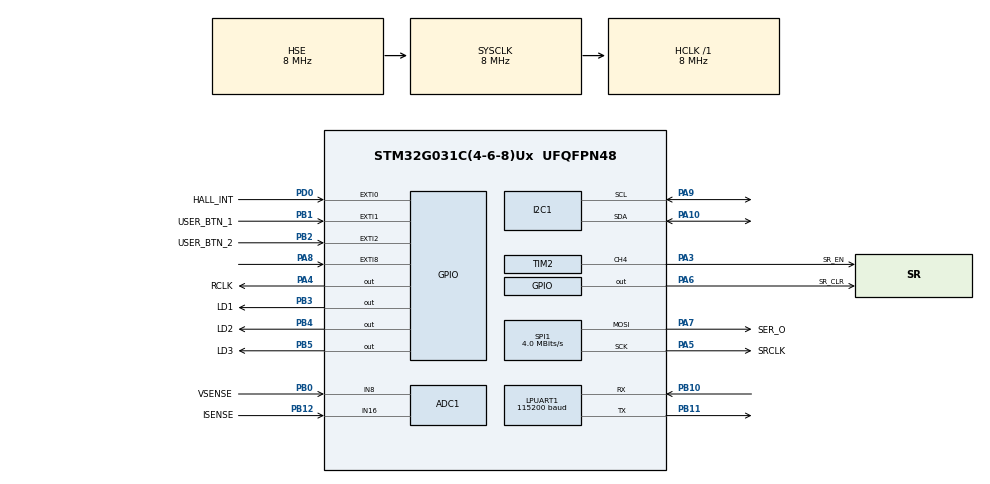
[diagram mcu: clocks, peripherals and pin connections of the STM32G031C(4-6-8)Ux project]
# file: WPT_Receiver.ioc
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ADC1.Channel-0\#ChannelRegularConversion=ADC_CHANNEL_8
ADC1.NbrOfConversionFlag=1
ADC1.Rank-0\#ChannelRegularConversion=1
ADC1.SamplingTime-0\#ChannelRegularConversion=ADC_SAMPLINGTIME_COMMON_1
ADC1.SelectedChannel=ADC_CHANNEL_8
ADC1.master=1
Dma.LPUART1_RX.0.Direction=DMA_PERIPH_TO_MEMORY
Dma.LPUART1_RX.0.EventEnable=ENABLE
Dma.LPUART1_RX.0.Instance=DMA1_Channel1
Dma.LPUART1_RX.0.MemDataAlignment=DMA_MDATAALIGN_BYTE
Dma.LPUART1_RX.0.MemInc=DMA_MINC_ENABLE
Dma.LPUART1_RX.0.Mode=DMA_NORMAL
Dma.LPUART1_RX.0.PeriphDataAlignment=DMA_PDATAALIGN_BYTE
Dma.LPUART1_RX.0.PeriphInc=DMA_PINC_DISABLE
Dma.LPUART1_RX.0.Polarity=HAL_DMAMUX_REQ_GEN_RISING
Dma.LPUART1_RX.0.Priority=DMA_PRIORITY_LOW
Dma.LPUART1_RX.0.RequestNumber=1
Dma.LPUART1_RX.0.SignalID=NONE
Dma.LPUART1_RX.0.SyncEnable=DISABLE
Dma.LPUART1_RX.0.SyncPolarity=HAL_DMAMUX_SYNC_NO_EVENT
Dma.LPUART1_RX.0.SyncRequestNumber=1
Dma.LPUART1_RX.0.SyncSignalID=NONE
Dma.Request0=LPUART1_RX
I2C1.Timing=0x2000090E
LPUART1.BaudRate=115200
LPUART1.WordLength=UART_WORDLENGTH_8B
Mcu.Family=STM32G0
Mcu.Name=STM32G031C(4-6-8)Ux
Mcu.Package=UFQFPN48
NVIC.DMA1_Ch4_5_DMAMUX1_OVR_IRQn=true\:0\:0\:false\:false\:true\:false\:true
NVIC.DMA1_Channel1_IRQn=true\:0\:0\:false\:false\:true\:false\:true
NVIC.EXTI0_1_IRQn=true\:0\:0\:false\:false\:true\:true\:true
NVIC.EXTI2_3_IRQn=true\:0\:0\:false\:false\:true\:true\:true
NVIC.EXTI4_15_IRQn=true\:0\:0\:false\:false\:true\:true\:true
NVIC.LPUART1_IRQn=true\:0\:0\:false\:false\:true\:true\:true
PA10.Mode=I2C
PA10.Signal=I2C1_SDA
PA13.Mode=Serial_Wire
PA13.Signal=SYS_SWDIO
PA14-BOOT0.Mode=Serial_Wire
PA14-BOOT0.Signal=SYS_SWCLK
PA3.GPIO_Label=SR_EN
PA3.Signal=S_TIM2_CH4
PA4.GPIO_Label=RCLK
PA4.Signal=GPIO_Output
PA5.GPIO_Label=SRCLK
PA5.Mode=TX_Only_Simplex_Unidirect_Master
PA5.Signal=SPI1_SCK
PA6.GPIO_Label=SR_CLR
PA6.Signal=GPIO_Output
PA7.GPIO_Label=SER_O
PA7.Mode=TX_Only_Simplex_Unidirect_Master
PA7.Signal=SPI1_MOSI
PA8.Signal=GPXTI8
PA9.Mode=I2C
PA9.Signal=I2C1_SCL
PB0.GPIO_Label=VSENSE
PB0.Mode=IN8
PB0.Signal=ADC1_IN8
PB1.GPIO_Label=USER_BTN_1
PB1.GPIO_ModeDefaultEXTI=GPIO_MODE_IT_FALLING
PB1.Signal=GPXTI1
PB10.Mode=Asynchronous
PB10.Signal=LPUART1_RX
PB11.Mode=Asynchronous
PB11.Signal=LPUART1_TX
PB12.GPIO_Label=ISENSE
PB12.Mode=IN16
PB12.Signal=ADC1_IN16
PB2.GPIO_Label=USER_BTN_2
PB2.GPIO_ModeDefaultEXTI=GPIO_MODE_IT_FALLING
PB2.Signal=GPXTI2
PB3.GPIO_Label=LD1
PB3.Signal=GPIO_Output
PB4.GPIO_Label=LD2
PB4.Signal=GPIO_Output
PB5.GPIO_Label=LD3
PB5.Signal=GPIO_Output
PD0.GPIO_Label=HALL_INT
PD0.GPIO_ModeDefaultEXTI=GPIO_MODE_IT_RISING_FALLING
PD0.Signal=GPXTI0
PF0-OSC_IN\ (PF0).Mode=HSE-External-Oscillator
PF0-OSC_IN\ (PF0).Signal=RCC_OSC_IN
PF1-OSC_OUT\ (PF1).Mode=HSE-External-Oscillator
PF1-OSC_OUT\ (PF1).Signal=RCC_OSC_OUT
ProjectManager.HeapSize=0x200
ProjectManager.StackSize=0x400
ProjectManager.TargetToolchain=MDK-ARM V5
RCC.ADCFreq_Value=8000000
RCC.AHBFreq_Value=8000000
RCC.CortexFreq_Value=8000000
RCC.EXTERNAL_CLOCK_VALUE=12288000
RCC.HCLKFreq_Value=8000000
RCC.HSE_VALUE=8000000
RCC.HSI_VALUE=16000000
RCC.LSE_VALUE=32768
RCC.PLLSourceVirtual=RCC_PLLSOURCE_HSE
RCC.SYSCLKFreq_VALUE=8000000
RCC.SYSCLKSource=RCC_SYSCLKSOURCE_HSE
RCC.VCOOutputFreq_Value=64000000
SH.S_TIM2_CH4.0=TIM2_CH4,PWM Generation4 CH4
SPI1.CalculateBaudRate=4.0 MBits/s
SPI1.Direction=SPI_DIRECTION_2LINES
SPI1.Mode=SPI_MODE_MASTER
SPI1.VirtualType=VM_MASTER
TIM2.Channel-PWM\ Generation4\ CH4=TIM_CHANNEL_4
TIM2.OCPolarity_4=TIM_OCPOLARITY_LOW
TIM2.Period=100
TIM2.Prescaler=8
TIM2.Pulse-PWM\ Generation4\ CH4=10
VP_TIM2_VS_ClockSourceINT.Mode=Internal
board=custom

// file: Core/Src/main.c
/* USER CODE BEGIN Header */
/**
  ******************************************************************************
  * @file           : main.c
  * @brief          : Main program body
  ******************************************************************************
  * @attention
  *
  * <h2><center>&copy; Copyright (c) 2021 STMicroelectronics.
  * All rights reserved.</center></h2>
  *
  * This software component is licensed by ST under BSD 3-Clause license,
  * the "License"; You may not use this file except in compliance with the
  * License. You may obtain a copy of the License at:
  *                        opensource.org/licenses/BSD-3-Clause
  *
  ******************************************************************************
  */
/* USER CODE END Header */
#include "main.h"

/* USER CODE BEGIN Includes */
#include "string.h"
#include <stdio.h>
#include "SN74HC595.h"

/* USER CODE END Includes */

ADC_HandleTypeDef hadc1;

I2C_HandleTypeDef hi2c1;

UART_HandleTypeDef hlpuart1;
DMA_HandleTypeDef hdma_lpuart1_rx;

SPI_HandleTypeDef hspi1;

TIM_HandleTypeDef htim2;

/* USER CODE BEGIN PV */

static uint16_t BlinkyPin;
static uint8_t BlinkyEn;

/* USER CODE END PV */

void SystemClock_Config(void);
static void MX_GPIO_Init(void);
static void MX_DMA_Init(void);
static void MX_ADC1_Init(void);
static void MX_I2C1_Init(void);
static void MX_LPUART1_UART_Init(void);
static void MX_SPI1_Init(void);
static void MX_TIM2_Init(void);
/* USER CODE BEGIN PFP */
static void ReverseRxIntoTx(void);
/* USER CODE END PFP */

/* USER CODE BEGIN 0 */
#define RX_BUFFER_SIZE 20
#define TX_BUFFER_SIZE 100
#define MAIN_BUFFER_SIZE 40

uint8_t DebugRxBuffer[RX_BUFFER_SIZE];
uint8_t DebugTxData[TX_BUFFER_SIZE] = "DEFAULT\r\n";
uint8_t MainDataBuffer[MAIN_BUFFER_SIZE];

uint8_t OldPos = 0;
uint8_t NewPos = 0;
uint8_t RxDataLength = 0;
uint8_t RxDataFlag = 0;

uint32_t ADC_CurrentReading = 0;

/* USER CODE END 0 */

int main(void)
{

  /* MCU Configuration--------------------------------------------------------*/

  /* Reset of all peripherals, Initializes the Flash interface and the Systick. */
  HAL_Init();

  /* Configure the system clock */
  SystemClock_Config();

  /* Initialize all configured peripherals */
  MX_GPIO_Init();
  MX_DMA_Init();
  MX_ADC1_Init();
  MX_I2C1_Init();
  MX_LPUART1_UART_Init();
  MX_SPI1_Init();
  MX_TIM2_Init();
  /* USER CODE BEGIN 2 */

	BlinkyPin = GPIO_PIN_3;
	BlinkyEn = 1;

	HAL_UARTEx_ReceiveToIdle_DMA(&hlpuart1, DebugRxBuffer, RX_BUFFER_SIZE);
	__HAL_DMA_DISABLE_IT(&hdma_lpuart1_rx, DMA_IT_HT);

	// Disable shift register output (active low) so LEDs don't turn on
	HAL_TIM_PWM_Start(&htim2, TIM_CHANNEL_4);
	SN74HC595_Init();

	// HAL_UART_Receive_DMA(&hlpuart1, DebugRxData, 20);

	HAL_UART_Transmit(&hlpuart1, DebugTxData, 9, 100);

  /* USER CODE END 2 */

  /* Infinite loop */
  /* USER CODE BEGIN WHILE */
  while (1)
  {
		HAL_ADC_Start(&hadc1);

		if (BlinkyEn)
		{
			HAL_GPIO_TogglePin(GPIOB, BlinkyPin);
			HAL_Delay(500);
		}
		else
			HAL_GPIO_WritePin(GPIOB, BlinkyPin, GPIO_PIN_RESET);

		if (RxDataFlag)
		{
			ReverseRxIntoTx();
			HAL_UART_Transmit(&hlpuart1, DebugTxData, RxDataLength, 100);
			RxDataFlag = 0;
		}

		if(HAL_ADC_PollForConversion(&hadc1, 10) == HAL_OK) {
			ADC_CurrentReading = HAL_ADC_GetValue(&hadc1);
			char str[4];
			HAL_UART_Transmit(&hlpuart1, (void *)str, sprintf(str, "%d\n", ADC_CurrentReading), 10);
		}

		HAL_ADC_Stop(&hadc1);

		// SN74HC595_TestReel();

    /* USER CODE END WHILE */

  }
}

void SystemClock_Config(void)
{
  RCC_OscInitTypeDef RCC_OscInitStruct = {0};
  RCC_ClkInitTypeDef RCC_ClkInitStruct = {0};
  RCC_PeriphCLKInitTypeDef PeriphClkInit = {0};

  /** Configure the main internal regulator output voltage
  */
  HAL_PWREx_ControlVoltageScaling(PWR_REGULATOR_VOLTAGE_SCALE1);
  /** Initializes the RCC Oscillators according to the specified parameters
  * in the RCC_OscInitTypeDef structure.
  */
  RCC_OscInitStruct.OscillatorType = RCC_OSCILLATORTYPE_HSE;
  RCC_OscInitStruct.HSEState = RCC_HSE_ON;
  RCC_OscInitStruct.PLL.PLLState = RCC_PLL_NONE;
  if (HAL_RCC_OscConfig(&RCC_OscInitStruct) != HAL_OK)
  {
    Error_Handler();
  }
  /** Initializes the CPU, AHB and APB buses clocks
  */
  RCC_ClkInitStruct.ClockType = RCC_CLOCKTYPE_HCLK|RCC_CLOCKTYPE_SYSCLK
                              |RCC_CLOCKTYPE_PCLK1;
  RCC_ClkInitStruct.SYSCLKSource = RCC_SYSCLKSOURCE_HSE;
  RCC_ClkInitStruct.AHBCLKDivider = RCC_SYSCLK_DIV1;
  RCC_ClkInitStruct.APB1CLKDivider = RCC_HCLK_DIV1;

  if (HAL_RCC_ClockConfig(&RCC_ClkInitStruct, FLASH_LATENCY_0) != HAL_OK)
  {
    Error_Handler();
  }
  /** Initializes the peripherals clocks
  */
  PeriphClkInit.PeriphClockSelection = RCC_PERIPHCLK_LPUART1|RCC_PERIPHCLK_I2C1
                              |RCC_PERIPHCLK_ADC;
  PeriphClkInit.Lpuart1ClockSelection = RCC_LPUART1CLKSOURCE_PCLK1;
  PeriphClkInit.I2c1ClockSelection = RCC_I2C1CLKSOURCE_PCLK1;
  PeriphClkInit.AdcClockSelection = RCC_ADCCLKSOURCE_SYSCLK;
  if (HAL_RCCEx_PeriphCLKConfig(&PeriphClkInit) != HAL_OK)
  {
    Error_Handler();
  }
}

static void MX_ADC1_Init(void)
{

  ADC_ChannelConfTypeDef sConfig = {0};

  /** Configure the global features of the ADC (Clock, Resolution, Data Alignment and number of conversion)
  */
  hadc1.Instance = ADC1;
  hadc1.Init.ClockPrescaler = ADC_CLOCK_SYNC_PCLK_DIV2;
  hadc1.Init.Resolution = ADC_RESOLUTION_12B;
  hadc1.Init.DataAlign = ADC_DATAALIGN_RIGHT;
  hadc1.Init.ScanConvMode = ADC_SCAN_DISABLE;
  hadc1.Init.EOCSelection = ADC_EOC_SINGLE_CONV;
  hadc1.Init.LowPowerAutoWait = DISABLE;
  hadc1.Init.LowPowerAutoPowerOff = DISABLE;
  hadc1.Init.ContinuousConvMode = DISABLE;
  hadc1.Init.NbrOfConversion = 1;
  hadc1.Init.DiscontinuousConvMode = DISABLE;
  hadc1.Init.ExternalTrigConv = ADC_SOFTWARE_START;
  hadc1.Init.ExternalTrigConvEdge = ADC_EXTERNALTRIGCONVEDGE_NONE;
  hadc1.Init.DMAContinuousRequests = DISABLE;
  hadc1.Init.Overrun = ADC_OVR_DATA_PRESERVED;
  hadc1.Init.SamplingTimeCommon1 = ADC_SAMPLETIME_1CYCLE_5;
  hadc1.Init.SamplingTimeCommon2 = ADC_SAMPLETIME_1CYCLE_5;
  hadc1.Init.OversamplingMode = DISABLE;
  hadc1.Init.TriggerFrequencyMode = ADC_TRIGGER_FREQ_HIGH;
  if (HAL_ADC_Init(&hadc1) != HAL_OK)
  {
    Error_Handler();
  }
  /** Configure Regular Channel
  */
  sConfig.Channel = ADC_CHANNEL_8;
  sConfig.Rank = ADC_REGULAR_RANK_1;
  sConfig.SamplingTime = ADC_SAMPLINGTIME_COMMON_1;
  if (HAL_ADC_ConfigChannel(&hadc1, &sConfig) != HAL_OK)
  {
    Error_Handler();
  }

}

static void MX_I2C1_Init(void)
{

  hi2c1.Instance = I2C1;
  hi2c1.Init.Timing = 0x2000090E;
  hi2c1.Init.OwnAddress1 = 0;
  hi2c1.Init.AddressingMode = I2C_ADDRESSINGMODE_7BIT;
  hi2c1.Init.DualAddressMode = I2C_DUALADDRESS_DISABLE;
  hi2c1.Init.OwnAddress2 = 0;
  hi2c1.Init.OwnAddress2Masks = I2C_OA2_NOMASK;
  hi2c1.Init.GeneralCallMode = I2C_GENERALCALL_DISABLE;
  hi2c1.Init.NoStretchMode = I2C_NOSTRETCH_DISABLE;
  if (HAL_I2C_Init(&hi2c1) != HAL_OK)
  {
    Error_Handler();
  }
  /** Configure Analogue filter
  */
  if (HAL_I2CEx_ConfigAnalogFilter(&hi2c1, I2C_ANALOGFILTER_ENABLE) != HAL_OK)
  {
    Error_Handler();
  }
  /** Configure Digital filter
  */
  if (HAL_I2CEx_ConfigDigitalFilter(&hi2c1, 0) != HAL_OK)
  {
    Error_Handler();
  }

}

static void MX_LPUART1_UART_Init(void)
{

  hlpuart1.Instance = LPUART1;
  hlpuart1.Init.BaudRate = 115200;
  hlpuart1.Init.WordLength = UART_WORDLENGTH_8B;
  hlpuart1.Init.StopBits = UART_STOPBITS_1;
  hlpuart1.Init.Parity = UART_PARITY_NONE;
  hlpuart1.Init.Mode = UART_MODE_TX_RX;
  hlpuart1.Init.HwFlowCtl = UART_HWCONTROL_NONE;
  hlpuart1.Init.OneBitSampling = UART_ONE_BIT_SAMPLE_DISABLE;
  hlpuart1.Init.ClockPrescaler = UART_PRESCALER_DIV1;
  hlpuart1.AdvancedInit.AdvFeatureInit = UART_ADVFEATURE_NO_INIT;
  hlpuart1.FifoMode = UART_FIFOMODE_DISABLE;
  if (HAL_UART_Init(&hlpuart1) != HAL_OK)
  {
    Error_Handler();
  }
  if (HAL_UARTEx_SetTxFifoThreshold(&hlpuart1, UART_TXFIFO_THRESHOLD_1_8) != HAL_OK)
  {
    Error_Handler();
  }
  if (HAL_UARTEx_SetRxFifoThreshold(&hlpuart1, UART_RXFIFO_THRESHOLD_1_8) != HAL_OK)
  {
    Error_Handler();
  }
  if (HAL_UARTEx_DisableFifoMode(&hlpuart1) != HAL_OK)
  {
    Error_Handler();
  }

}

static void MX_SPI1_Init(void)
{

  /* SPI1 parameter configuration*/
  hspi1.Instance = SPI1;
  hspi1.Init.Mode = SPI_MODE_MASTER;
  hspi1.Init.Direction = SPI_DIRECTION_2LINES;
  hspi1.Init.DataSize = SPI_DATASIZE_8BIT;
  hspi1.Init.CLKPolarity = SPI_POLARITY_LOW;
  hspi1.Init.CLKPhase = SPI_PHASE_1EDGE;
  hspi1.Init.NSS = SPI_NSS_SOFT;
  hspi1.Init.BaudRatePrescaler = SPI_BAUDRATEPRESCALER_2;
  hspi1.Init.FirstBit = SPI_FIRSTBIT_MSB;
  hspi1.Init.TIMode = SPI_TIMODE_DISABLE;
  hspi1.Init.CRCCalculation = SPI_CRCCALCULATION_DISABLE;
  hspi1.Init.CRCPolynomial = 7;
  hspi1.Init.CRCLength = SPI_CRC_LENGTH_DATASIZE;
  hspi1.Init.NSSPMode = SPI_NSS_PULSE_ENABLE;
  if (HAL_SPI_Init(&hspi1) != HAL_OK)
  {
    Error_Handler();
  }

}

static void MX_TIM2_Init(void)
{

  TIM_ClockConfigTypeDef sClockSourceConfig = {0};
  TIM_MasterConfigTypeDef sMasterConfig = {0};
  TIM_OC_InitTypeDef sConfigOC = {0};

  htim2.Instance = TIM2;
  htim2.Init.Prescaler = 8;
  htim2.Init.CounterMode = TIM_COUNTERMODE_UP;
  htim2.Init.Period = 100;
  htim2.Init.ClockDivision = TIM_CLOCKDIVISION_DIV1;
  htim2.Init.AutoReloadPreload = TIM_AUTORELOAD_PRELOAD_DISABLE;
  if (HAL_TIM_Base_Init(&htim2) != HAL_OK)
  {
    Error_Handler();
  }
  sClockSourceConfig.ClockSource = TIM_CLOCKSOURCE_INTERNAL;
  if (HAL_TIM_ConfigClockSource(&htim2, &sClockSourceConfig) != HAL_OK)
  {
    Error_Handler();
  }
  if (HAL_TIM_PWM_Init(&htim2) != HAL_OK)
  {
    Error_Handler();
  }
  sMasterConfig.MasterOutputTrigger = TIM_TRGO_RESET;
  sMasterConfig.MasterSlaveMode = TIM_MASTERSLAVEMODE_DISABLE;
  if (HAL_TIMEx_MasterConfigSynchronization(&htim2, &sMasterConfig) != HAL_OK)
  {
    Error_Handler();
  }
  sConfigOC.OCMode = TIM_OCMODE_PWM1;
  sConfigOC.Pulse = 10;
  sConfigOC.OCPolarity = TIM_OCPOLARITY_LOW;
  sConfigOC.OCFastMode = TIM_OCFAST_DISABLE;
  if (HAL_TIM_PWM_ConfigChannel(&htim2, &sConfigOC, TIM_CHANNEL_4) != HAL_OK)
  {
    Error_Handler();
  }
  HAL_TIM_MspPostInit(&htim2);

}

static void MX_DMA_Init(void)
{

  /* DMA controller clock enable */
  __HAL_RCC_DMA1_CLK_ENABLE();

  /* DMA interrupt init */
  /* DMA1_Channel1_IRQn interrupt configuration */
  HAL_NVIC_SetPriority(DMA1_Channel1_IRQn, 0, 0);
  HAL_NVIC_EnableIRQ(DMA1_Channel1_IRQn);
  /* DMA1_Ch4_5_DMAMUX1_OVR_IRQn interrupt configuration */
  HAL_NVIC_SetPriority(DMA1_Ch4_5_DMAMUX1_OVR_IRQn, 0, 0);
  HAL_NVIC_EnableIRQ(DMA1_Ch4_5_DMAMUX1_OVR_IRQn);

}

static void MX_GPIO_Init(void)
{
  GPIO_InitTypeDef GPIO_InitStruct = {0};

  /* GPIO Ports Clock Enable */
  __HAL_RCC_GPIOF_CLK_ENABLE();
  __HAL_RCC_GPIOA_CLK_ENABLE();
  __HAL_RCC_GPIOB_CLK_ENABLE();
  __HAL_RCC_GPIOD_CLK_ENABLE();

  /*Configure GPIO pin Output Level */
  HAL_GPIO_WritePin(GPIOA, RCLK_Pin|SR_CLR_Pin, GPIO_PIN_RESET);

  /*Configure GPIO pin Output Level */
  HAL_GPIO_WritePin(GPIOB, LD1_Pin|LD2_Pin|LD3_Pin, GPIO_PIN_RESET);

  /*Configure GPIO pins : RCLK_Pin SR_CLR_Pin */
  GPIO_InitStruct.Pin = RCLK_Pin|SR_CLR_Pin;
  GPIO_InitStruct.Mode = GPIO_MODE_OUTPUT_PP;
  GPIO_InitStruct.Pull = GPIO_NOPULL;
  GPIO_InitStruct.Speed = GPIO_SPEED_FREQ_LOW;
  HAL_GPIO_Init(GPIOA, &GPIO_InitStruct);

  /*Configure GPIO pins : USER_BTN_1_Pin USER_BTN_2_Pin */
  GPIO_InitStruct.Pin = USER_BTN_1_Pin|USER_BTN_2_Pin;
  GPIO_InitStruct.Mode = GPIO_MODE_IT_FALLING;
  GPIO_InitStruct.Pull = GPIO_NOPULL;
  HAL_GPIO_Init(GPIOB, &GPIO_InitStruct);

  /*Configure GPIO pin : PA8 */
  GPIO_InitStruct.Pin = GPIO_PIN_8;
  GPIO_InitStruct.Mode = GPIO_MODE_IT_RISING;
  GPIO_InitStruct.Pull = GPIO_NOPULL;
  HAL_GPIO_Init(GPIOA, &GPIO_InitStruct);

  /*Configure GPIO pin : HALL_INT_Pin */
  GPIO_InitStruct.Pin = HALL_INT_Pin;
  GPIO_InitStruct.Mode = GPIO_MODE_IT_RISING_FALLING;
  GPIO_InitStruct.Pull = GPIO_NOPULL;
  HAL_GPIO_Init(HALL_INT_GPIO_Port, &GPIO_InitStruct);

  /*Configure GPIO pins : LD1_Pin LD2_Pin LD3_Pin */
  GPIO_InitStruct.Pin = LD1_Pin|LD2_Pin|LD3_Pin;
  GPIO_InitStruct.Mode = GPIO_MODE_OUTPUT_PP;
  GPIO_InitStruct.Pull = GPIO_NOPULL;
  GPIO_InitStruct.Speed = GPIO_SPEED_FREQ_LOW;
  HAL_GPIO_Init(GPIOB, &GPIO_InitStruct);

  /* EXTI interrupt init*/
  HAL_NVIC_SetPriority(EXTI0_1_IRQn, 0, 0);
  HAL_NVIC_EnableIRQ(EXTI0_1_IRQn);

  HAL_NVIC_SetPriority(EXTI2_3_IRQn, 0, 0);
  HAL_NVIC_EnableIRQ(EXTI2_3_IRQn);

  HAL_NVIC_SetPriority(EXTI4_15_IRQn, 0, 0);
  HAL_NVIC_EnableIRQ(EXTI4_15_IRQn);

}

/* USER CODE BEGIN 4 */

void ReverseRxIntoTx(void)
{
	int index = OldPos;
	for (int i = RxDataLength - 1; i >= 0; i--)
	{
		DebugTxData[i] = MainDataBuffer[index++];
	}
}

void HAL_UARTEx_RxEventCallback(UART_HandleTypeDef *huart, uint16_t Size)
{
  /* Prevent unused argument(s) compilation warning */
  UNUSED(huart);
  UNUSED(Size);

	if(huart->Instance == LPUART1)
	{
		// code borrowed heavily from a tutorial from Controllers Tech
		OldPos = NewPos; // Update the last position before copying new data

		if (OldPos+Size > MAIN_BUFFER_SIZE)
		{
			uint16_t BufferRemaining = MAIN_BUFFER_SIZE - OldPos; // remaining space in buffer
			memcpy(MainDataBuffer + OldPos, DebugRxBuffer, BufferRemaining); // fill remaining space in main buffer

			OldPos = 0; // point to front of buffer
			NewPos = Size - BufferRemaining; // mark endpoint of entry
			memcpy (MainDataBuffer, DebugRxBuffer + BufferRemaining, NewPos); // copy overflow data to front of main buffer
		}
		else
		{
			memcpy(MainDataBuffer + OldPos, DebugRxBuffer, Size);
			NewPos = Size + OldPos;
		}

		RxDataFlag = 1;
		RxDataLength = Size;

		HAL_UARTEx_ReceiveToIdle_DMA(&hlpuart1, DebugRxBuffer, RX_BUFFER_SIZE);
		__HAL_DMA_DISABLE_IT(&hdma_lpuart1_rx, DMA_IT_HT);
	}
}

void HAL_GPIO_EXTI_Rising_Callback(uint16_t GPIO_Pin)
{
	if(GPIO_Pin == GPIO_PIN_0)
	{
		// Turns LD3 on when magnet detected by hall sensor
		HAL_GPIO_WritePin(GPIOB, GPIO_PIN_5, GPIO_PIN_RESET);
	}
}
void HAL_GPIO_EXTI_Falling_Callback(uint16_t GPIO_Pin)
{
	// Turn off blinky before transferring ownership
	/* if (HAL_GPIO_ReadPin(GPIOB, BlinkyPin) == GPIO_PIN_SET)
				HAL_GPIO_WritePin(GPIOB, BlinkyPin, GPIO_PIN_RESET);

	if(GPIO_Pin == GPIO_PIN_1) // connected to user button 1, increments blinky pin
	{
		if (BlinkyPin == GPIO_PIN_5) // accounts for rollover
			BlinkyPin >>= 2;
		else
			BlinkyPin <<= 1; // shifts to next LED GPIO
	}
	else if(GPIO_Pin == GPIO_PIN_2) // connected to user button 2, decrements blinky pin
	{
		if (BlinkyPin == GPIO_PIN_3)
			BlinkyPin <<= 2;
		else
			BlinkyPin >>= 1;
	} */

	if(GPIO_Pin == GPIO_PIN_0)
	{
		// Turns LD3 on when magnet detected by hall sensor
		HAL_GPIO_WritePin(GPIOB, GPIO_PIN_5, GPIO_PIN_SET);
	}
	else if(GPIO_Pin == GPIO_PIN_1) // connected to user button 1
	{
		BlinkyEn ^= 1; // toggle whether blinky runs
	}
}

/* USER CODE END 4 */

void Error_Handler(void)
{
  __disable_irq();
  while (1)
  {
  }
}

/************************ (C) COPYRIGHT STMicroelectronics *****END OF FILE****/
